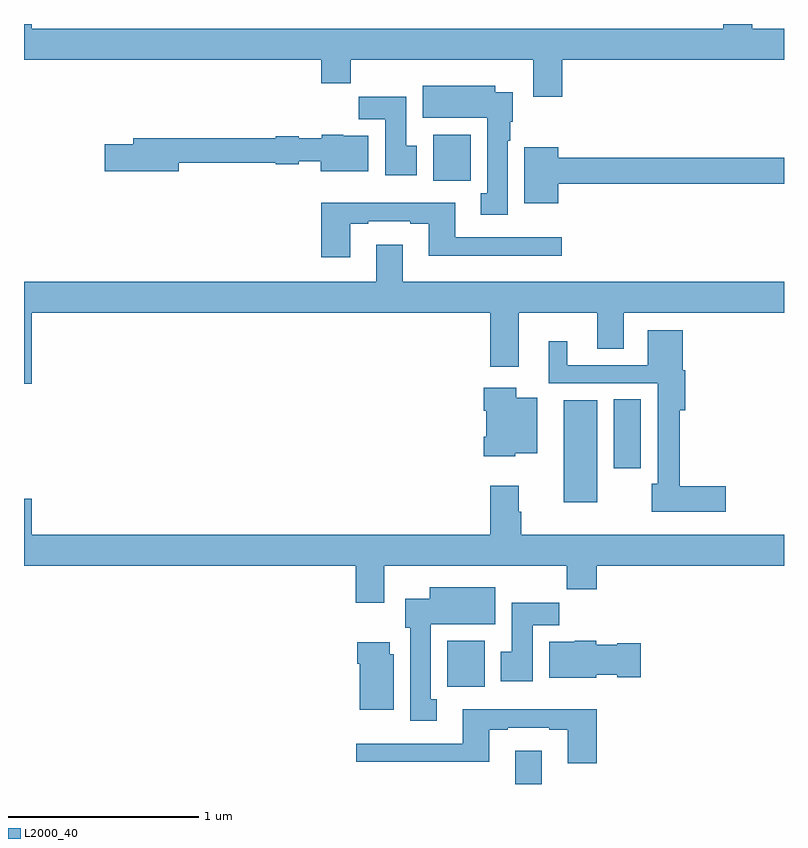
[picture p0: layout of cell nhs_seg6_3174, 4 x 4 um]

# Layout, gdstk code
import gdstk
lib = gdstk.Library(unit=1e-6, precision=1e-09)
def R(c, l, rs):  # rectangles x0, y0, x1, y1
    for r in rs: c.add(gdstk.rectangle(r[:2], r[2:], *l))
def P(c, l, *ps):  # polygons
    for p in ps: c.add(gdstk.Polygon(p, *l))
L2000_40 = (2000, 40)

nhs_seg6_3174 = lib.new_cell('nhs_seg6_3174')
R(nhs_seg6_3174, L2000_40, [(299.585,967.5,299.725,967.675), (299.228,968.012,299.425,968.254), (299.84,968.984,300.016,969.52), (300.104,969.162,300.247,969.524), (299.153,970.676,299.35,970.918)])
P(nhs_seg6_3174, L2000_40, [(299.834,971.312),(301,971.312),(301,971.476),(300.832,971.476),(300.832,971.5),(300.68,971.5),(300.68,971.476),(297.04,971.476),(297.04,971.5),(297,971.5),(297,971.312),(298.565,971.312),(298.565,971.188),(298.721,971.188),(298.721,971.312),(299.681,971.312),(299.681,971.118),(299.834,971.118)],
  [(299.545,970.886),(299.56,970.886),(299.56,970.986),(299.572,970.986),(299.572,971.14),(299.479,971.14),(299.479,971.176),(299.099,971.176),(299.099,971.006),(299.438,971.006),(299.438,970.61),(299.405,970.61),(299.405,970.497),(299.545,970.497)],
  [(299.068,970.86),(299.011,970.86),(299.011,971.118),(298.762,971.118),(298.762,971),(298.901,971),(298.901,970.704),(299.068,970.704)],
  [(297.814,970.771),(298.326,970.771),(298.326,970.763),(298.446,970.763),(298.446,970.778),(298.562,970.778),(298.562,970.724),(298.813,970.724),(298.813,970.912),(298.68,970.912),(298.68,970.918),(298.566,970.918),(298.566,970.9),(298.446,970.9),(298.446,970.908),(298.326,970.908),(298.326,970.9),(297.575,970.9),(297.575,970.866),(297.426,970.866),(297.426,970.724),(297.814,970.724)],
  [(299.812,970.66),(301,970.66),(301,970.796),(299.812,970.796),(299.812,970.852),(299.633,970.852),(299.633,970.556),(299.812,970.556)],
  [(298.717,970.449),(298.813,970.449),(298.813,970.461),(299.033,970.461),(299.033,970.449),(299.129,970.449),(299.129,970.28),(299.83,970.28),(299.83,970.377),(299.269,970.377),(299.269,970.558),(298.565,970.558),(298.565,970.272),(298.717,970.272)],
  [(297.04,969.98),(299.453,969.98),(299.453,969.696),(299.605,969.696),(299.605,969.98),(300.017,969.98),(300.017,969.79),(300.157,969.79),(300.157,969.98),(301,969.98),(301,970.144),(298.993,970.144),(298.993,970.339),(298.853,970.339),(298.853,970.144),(297,970.144),(297,969.606),(297.04,969.606)],
  [(300.694,969.068),(300.452,969.068),(300.452,969.467),(300.479,969.467),(300.479,969.678),(300.466,969.678),(300.466,969.889),(300.284,969.889),(300.284,969.705),(299.86,969.705),(299.86,969.829),(299.762,969.829),(299.762,969.609),(300.336,969.609),(300.336,969.081),(300.305,969.081),(300.305,968.933),(300.694,968.933)],
  [(299.586,969.242),(299.701,969.242),(299.701,969.532),(299.59,969.532),(299.59,969.586),(299.42,969.586),(299.42,969.464),(299.432,969.464),(299.432,969.328),(299.42,969.328),(299.42,969.224),(299.586,969.224)],
  [(298.897,968.648),(299.857,968.648),(299.857,968.524),(300.014,968.524),(300.014,968.648),(301,968.648),(301,968.812),(299.618,968.812),(299.618,968.933),(299.605,968.933),(299.605,969.07),(299.453,969.07),(299.453,968.812),(297.04,968.812),(297.04,969.001),(297,969.001),(297,968.648),(298.745,968.648),(298.745,968.454),(298.897,968.454)],
  [(299.173,967.946),(299.14,967.946),(299.14,968.342),(299.479,968.342),(299.479,968.536),(299.135,968.536),(299.135,968.476),(299.006,968.476),(299.006,968.322),(299.033,968.322),(299.033,967.833),(299.173,967.833)],
  [(299.677,968.336),(299.816,968.336),(299.816,968.454),(299.567,968.454),(299.567,968.196),(299.51,968.196),(299.51,968.04),(299.677,968.04)],
  [(300.012,968.075),(300.123,968.075),(300.123,968.063),(300.247,968.063),(300.247,968.241),(300.123,968.241),(300.123,968.233),(300.012,968.233),(300.012,968.254),(299.898,968.254),(299.898,968.248),(299.765,968.248),(299.765,968.06),(300.012,968.06)],
  [(298.945,968.184),(298.924,968.184),(298.924,968.245),(298.754,968.245),(298.754,968.132),(298.766,968.132),(298.766,967.892),(298.945,967.892)],
  [(300.014,967.894),(299.309,967.894),(299.309,967.713),(298.749,967.713),(298.749,967.616),(299.449,967.616),(299.449,967.785),(299.545,967.785),(299.545,967.797),(299.765,967.797),(299.765,967.785),(299.861,967.785),(299.861,967.608),(300.014,967.608)])

lib.write_gds('nhs_seg6_3174.gds')
